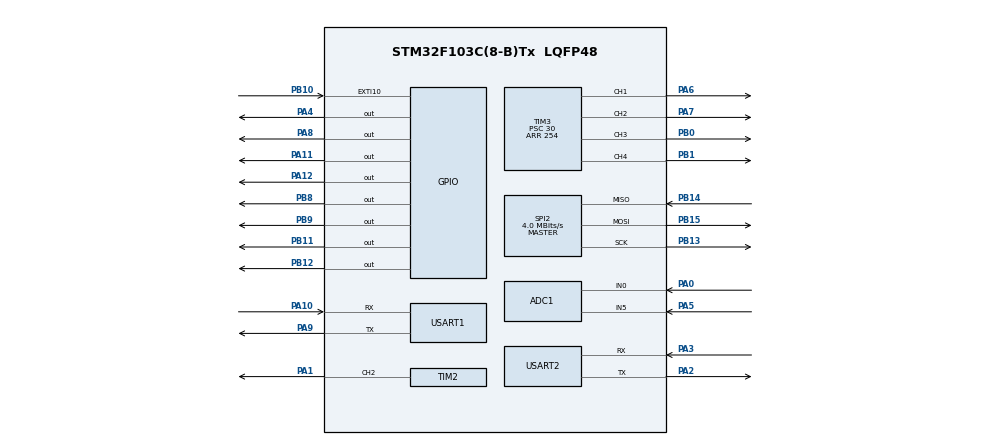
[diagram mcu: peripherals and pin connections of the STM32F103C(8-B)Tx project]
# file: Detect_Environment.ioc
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ADC1.Channel-1\#ChannelRegularConversion=ADC_CHANNEL_0
ADC1.Channel-2\#ChannelRegularConversion=ADC_CHANNEL_5
ADC1.ContinuousConvMode=ENABLE
ADC1.NbrOfConversion=2
ADC1.NbrOfConversionFlag=1
ADC1.Rank-1\#ChannelRegularConversion=1
ADC1.Rank-2\#ChannelRegularConversion=2
ADC1.SamplingTime-1\#ChannelRegularConversion=ADC_SAMPLETIME_55CYCLES_5
ADC1.SamplingTime-2\#ChannelRegularConversion=ADC_SAMPLETIME_55CYCLES_5
ADC1.master=1
Dma.ADC1.0.Direction=DMA_PERIPH_TO_MEMORY
Dma.ADC1.0.Instance=DMA1_Channel1
Dma.ADC1.0.MemDataAlignment=DMA_MDATAALIGN_HALFWORD
Dma.ADC1.0.MemInc=DMA_MINC_ENABLE
Dma.ADC1.0.Mode=DMA_CIRCULAR
Dma.ADC1.0.PeriphDataAlignment=DMA_PDATAALIGN_HALFWORD
Dma.ADC1.0.PeriphInc=DMA_PINC_DISABLE
Dma.ADC1.0.Priority=DMA_PRIORITY_MEDIUM
Dma.Request0=ADC1
Dma.Request1=USART2_RX
Dma.USART2_RX.1.Direction=DMA_PERIPH_TO_MEMORY
Dma.USART2_RX.1.Instance=DMA1_Channel6
Dma.USART2_RX.1.MemDataAlignment=DMA_MDATAALIGN_BYTE
Dma.USART2_RX.1.MemInc=DMA_MINC_ENABLE
Dma.USART2_RX.1.Mode=DMA_NORMAL
Dma.USART2_RX.1.PeriphDataAlignment=DMA_PDATAALIGN_BYTE
Dma.USART2_RX.1.PeriphInc=DMA_PINC_DISABLE
Dma.USART2_RX.1.Priority=DMA_PRIORITY_HIGH
FREERTOS.Tasks01=defaultTask,24,128,StartDefaultTask,Default,NULL,Dynamic,NULL,NULL
FREERTOS.configGENERATE_RUN_TIME_STATS=1
FREERTOS.configTOTAL_HEAP_SIZE=7680
FREERTOS.configUSE_IDLE_HOOK=1
FREERTOS.configUSE_STATS_FORMATTING_FUNCTIONS=1
FREERTOS.configUSE_TICKLESS_IDLE=1
Mcu.Family=STM32F1
Mcu.Name=STM32F103C(8-B)Tx
Mcu.Package=LQFP48
NVIC.EXTI15_10_IRQn=true\:5\:0\:false\:false\:true\:true\:true\:true\:true
NVIC.PriorityGroup=NVIC_PRIORITYGROUP_4
NVIC.TIM4_IRQn=true\:15\:0\:false\:false\:true\:false\:false\:true\:true
NVIC.TimeBase=TIM4_IRQn
NVIC.TimeBaseIP=TIM4
NVIC.USART2_IRQn=true\:5\:0\:false\:false\:true\:true\:true\:true\:true
PA0-WKUP.Signal=ADCx_IN0
PA1.Signal=S_TIM2_CH2
PA10.Mode=Asynchronous
PA10.Signal=USART1_RX
PA11.GPIO_Speed=GPIO_SPEED_FREQ_HIGH
PA11.Signal=GPIO_Output
PA12.GPIO_Speed=GPIO_SPEED_FREQ_HIGH
PA12.Signal=GPIO_Output
PA13.Mode=Serial_Wire
PA13.Signal=SYS_JTMS-SWDIO
PA14.Mode=Serial_Wire
PA14.Signal=SYS_JTCK-SWCLK
PA2.Mode=Asynchronous
PA2.Signal=USART2_TX
PA3.Mode=Asynchronous
PA3.Signal=USART2_RX
PA4.GPIO_ModeDefaultOutputPP=GPIO_MODE_OUTPUT_OD
PA4.GPIO_PuPd=GPIO_NOPULL
PA4.GPIO_Speed=GPIO_SPEED_FREQ_HIGH
PA4.PinState=GPIO_PIN_SET
PA4.Signal=GPIO_Output
PA5.Signal=ADCx_IN5
PA6.Signal=S_TIM3_CH1
PA7.Signal=S_TIM3_CH2
PA8.PinState=GPIO_PIN_RESET
PA8.Signal=GPIO_Output
PA9.Mode=Asynchronous
PA9.Signal=USART1_TX
PB0.Signal=S_TIM3_CH3
PB1.Signal=S_TIM3_CH4
PB10.GPIO_ModeDefaultEXTI=GPIO_MODE_IT_FALLING
PB10.GPIO_PuPd=GPIO_PULLUP
PB10.Signal=GPXTI10
PB11.PinState=GPIO_PIN_RESET
PB11.Signal=GPIO_Output
PB12.GPIO_Speed=GPIO_SPEED_FREQ_HIGH
PB12.PinState=GPIO_PIN_SET
PB12.Signal=GPIO_Output
PB13.Mode=Full_Duplex_Master
PB13.Signal=SPI2_SCK
PB14.Mode=Full_Duplex_Master
PB14.Signal=SPI2_MISO
PB15.Mode=Full_Duplex_Master
PB15.Signal=SPI2_MOSI
PB8.GPIO_ModeDefaultOutputPP=GPIO_MODE_OUTPUT_OD
PB8.GPIO_PuPd=GPIO_NOPULL
PB8.GPIO_Speed=GPIO_SPEED_FREQ_HIGH
PB8.PinState=GPIO_PIN_SET
PB8.Signal=GPIO_Output
PB9.GPIO_ModeDefaultOutputPP=GPIO_MODE_OUTPUT_OD
PB9.GPIO_PuPd=GPIO_NOPULL
PB9.GPIO_Speed=GPIO_SPEED_FREQ_HIGH
PB9.PinState=GPIO_PIN_SET
PB9.Signal=GPIO_Output
ProjectManager.HeapSize=0x200
ProjectManager.StackSize=0x400
ProjectManager.TargetToolchain=MDK-ARM V5.32
RCC.APB1Freq_Value=8000000
RCC.APB2Freq_Value=8000000
SH.ADCx_IN0.0=ADC1_IN0,IN0
SH.ADCx_IN5.0=ADC1_IN5,IN5
SH.S_TIM2_CH2.0=TIM2_CH2,PWM Generation2 CH2
SH.S_TIM3_CH1.0=TIM3_CH1,PWM Generation1 CH1
SH.S_TIM3_CH2.0=TIM3_CH2,PWM Generation2 CH2
SH.S_TIM3_CH3.0=TIM3_CH3,PWM Generation3 CH3
SH.S_TIM3_CH4.0=TIM3_CH4,PWM Generation4 CH4
SPI2.CalculateBaudRate=4.0 MBits/s
SPI2.Direction=SPI_DIRECTION_2LINES
SPI2.Mode=SPI_MODE_MASTER
SPI2.VirtualType=VM_MASTER
TIM1.AutoReloadPreload=TIM_AUTORELOAD_PRELOAD_ENABLE
TIM1.Prescaler=7
TIM2.AutoReloadPreload=TIM_AUTORELOAD_PRELOAD_ENABLE
TIM2.Channel-PWM\ Generation2\ CH2=TIM_CHANNEL_2
TIM2.OCPolarity_2=TIM_OCPOLARITY_LOW
TIM2.Period=99
TIM2.Prescaler=7
TIM3.AutoReloadPreload=TIM_AUTORELOAD_PRELOAD_ENABLE
TIM3.Channel-PWM\ Generation1\ CH1=TIM_CHANNEL_1
TIM3.Channel-PWM\ Generation2\ CH2=TIM_CHANNEL_2
TIM3.Channel-PWM\ Generation3\ CH3=TIM_CHANNEL_3
TIM3.Channel-PWM\ Generation4\ CH4=TIM_CHANNEL_4
TIM3.OCPolarity_1=TIM_OCPOLARITY_LOW
TIM3.OCPolarity_2=TIM_OCPOLARITY_LOW
TIM3.OCPolarity_3=TIM_OCPOLARITY_LOW
TIM3.Period=254
TIM3.Prescaler=30
USART1.VirtualMode=VM_ASYNC
USART2.VirtualMode=VM_ASYNC
VP_FREERTOS_VS_CMSIS_V2.Mode=CMSIS_V2
VP_SYS_VS_tim4.Mode=TIM4
VP_TIM1_VS_ClockSourceINT.Mode=Internal
VP_TIM2_VS_ClockSourceINT.Mode=Internal
VP_TIM3_VS_ClockSourceINT.Mode=Internal
board=custom

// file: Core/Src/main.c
/* USER CODE BEGIN Header */
/**
  ******************************************************************************
  * @file           : main.c
  * @brief          : Main program body
  ******************************************************************************
  * @attention
  *
  * Copyright (c) 2026 STMicroelectronics.
  * All rights reserved.
  *
  * This software is licensed under terms that can be found in the LICENSE file
  * in the root directory of this software component.
  * If no LICENSE file comes with this software, it is provided AS-IS.
  *
  ******************************************************************************
  */
/* USER CODE END Header */
#include "main.h"
#include "cmsis_os.h"

/* USER CODE BEGIN Includes */
#include "includes.h"
/* USER CODE END Includes */

/* USER CODE BEGIN PD */
#define APP_Start_ADDRESS   0x08008000
/* USER CODE END PD */

ADC_HandleTypeDef hadc1;
DMA_HandleTypeDef hdma_adc1;

SPI_HandleTypeDef hspi2;

TIM_HandleTypeDef htim1;
TIM_HandleTypeDef htim2;
TIM_HandleTypeDef htim3;

UART_HandleTypeDef huart1;
UART_HandleTypeDef huart2;
DMA_HandleTypeDef hdma_usart2_rx;

/* Definitions for defaultTask */
osThreadId_t defaultTaskHandle;
const osThreadAttr_t defaultTask_attributes = {
  .name = "defaultTask",
  .stack_size = 128 * 4,
  .priority = (osPriority_t) osPriorityNormal,
};

void SystemClock_Config(void);
static void MX_GPIO_Init(void);
static void MX_DMA_Init(void);
static void MX_ADC1_Init(void);
static void MX_SPI2_Init(void);
static void MX_TIM1_Init(void);
static void MX_TIM2_Init(void);
static void MX_TIM3_Init(void);
static void MX_USART1_UART_Init(void);
static void MX_USART2_UART_Init(void);
void StartDefaultTask(void *argument);

int main(void)
{
  /* USER CODE BEGIN 1 */
	__disable_irq();//先禁用全局中断
  /* USER CODE END 1 */

  /* MCU Configuration--------------------------------------------------------*/

  /* Reset of all peripherals, Initializes the Flash interface and the Systick. */
  HAL_Init();

  /* Configure the system clock */
  SystemClock_Config();

  /* USER CODE BEGIN SysInit */
 	SCB->VTOR = APP_Start_ADDRESS;//中断向量表重映射
  /* USER CODE END SysInit */

  /* Initialize all configured peripherals */
  MX_GPIO_Init();
  MX_DMA_Init();
  MX_ADC1_Init();
  MX_SPI2_Init();
  MX_TIM1_Init();
  MX_TIM2_Init();
  MX_TIM3_Init();
  MX_USART1_UART_Init();
  MX_USART2_UART_Init();
  /* USER CODE BEGIN 2 */

  EXTI->PR = 0xFFFFFFFF;// 清除所有EXTI 挂起标志（保险）
  for(int i=0; i<8; i++)
  {
    NVIC->ICPR[i] = 0xFFFFFFFF;// 清除 NVIC 所有挂起中断（彻底解决乱触发）
  }
	__enable_irq();
  /* USER CODE END 2 */

  /* Init scheduler */
  osKernelInitialize();

  /* Create the thread(s) */
  /* creation of defaultTask */
  // defaultTaskHandle = osThreadNew(StartDefaultTask, NULL, &defaultTask_attributes);

  /* USER CODE BEGIN RTOS_EVENTS */
  /* add events, ... */
  app_init();
  /* USER CODE END RTOS_EVENTS */

  /* Start scheduler */
  osKernelStart();

  /* We should never get here as control is now taken by the scheduler */
  /* Infinite loop */
  while (1)
  {

  }
}

void SystemClock_Config(void)
{
  RCC_OscInitTypeDef RCC_OscInitStruct = {0};
  RCC_ClkInitTypeDef RCC_ClkInitStruct = {0};
  RCC_PeriphCLKInitTypeDef PeriphClkInit = {0};

  /** Initializes the RCC Oscillators according to the specified parameters
  * in the RCC_OscInitTypeDef structure.
  */
  RCC_OscInitStruct.OscillatorType = RCC_OSCILLATORTYPE_HSI;
  RCC_OscInitStruct.HSIState = RCC_HSI_ON;
  RCC_OscInitStruct.HSICalibrationValue = RCC_HSICALIBRATION_DEFAULT;
  RCC_OscInitStruct.PLL.PLLState = RCC_PLL_NONE;
  if (HAL_RCC_OscConfig(&RCC_OscInitStruct) != HAL_OK)
  {
    Error_Handler();
  }

  /** Initializes the CPU, AHB and APB buses clocks
  */
  RCC_ClkInitStruct.ClockType = RCC_CLOCKTYPE_HCLK|RCC_CLOCKTYPE_SYSCLK
                              |RCC_CLOCKTYPE_PCLK1|RCC_CLOCKTYPE_PCLK2;
  RCC_ClkInitStruct.SYSCLKSource = RCC_SYSCLKSOURCE_HSI;
  RCC_ClkInitStruct.AHBCLKDivider = RCC_SYSCLK_DIV1;
  RCC_ClkInitStruct.APB1CLKDivider = RCC_HCLK_DIV1;
  RCC_ClkInitStruct.APB2CLKDivider = RCC_HCLK_DIV1;

  if (HAL_RCC_ClockConfig(&RCC_ClkInitStruct, FLASH_LATENCY_0) != HAL_OK)
  {
    Error_Handler();
  }
  PeriphClkInit.PeriphClockSelection = RCC_PERIPHCLK_ADC;
  PeriphClkInit.AdcClockSelection = RCC_ADCPCLK2_DIV2;
  if (HAL_RCCEx_PeriphCLKConfig(&PeriphClkInit) != HAL_OK)
  {
    Error_Handler();
  }
}

static void MX_ADC1_Init(void)
{

  ADC_ChannelConfTypeDef sConfig = {0};

  /** Common config
  */
  hadc1.Instance = ADC1;
  hadc1.Init.ScanConvMode = ADC_SCAN_ENABLE;
  hadc1.Init.ContinuousConvMode = ENABLE;
  hadc1.Init.DiscontinuousConvMode = DISABLE;
  hadc1.Init.ExternalTrigConv = ADC_SOFTWARE_START;
  hadc1.Init.DataAlign = ADC_DATAALIGN_RIGHT;
  hadc1.Init.NbrOfConversion = 2;
  if (HAL_ADC_Init(&hadc1) != HAL_OK)
  {
    Error_Handler();
  }

  /** Configure Regular Channel
  */
  sConfig.Channel = ADC_CHANNEL_0;
  sConfig.Rank = ADC_REGULAR_RANK_1;
  sConfig.SamplingTime = ADC_SAMPLETIME_55CYCLES_5;
  if (HAL_ADC_ConfigChannel(&hadc1, &sConfig) != HAL_OK)
  {
    Error_Handler();
  }

  /** Configure Regular Channel
  */
  sConfig.Channel = ADC_CHANNEL_5;
  sConfig.Rank = ADC_REGULAR_RANK_2;
  if (HAL_ADC_ConfigChannel(&hadc1, &sConfig) != HAL_OK)
  {
    Error_Handler();
  }

}

static void MX_SPI2_Init(void)
{

  /* SPI2 parameter configuration*/
  hspi2.Instance = SPI2;
  hspi2.Init.Mode = SPI_MODE_MASTER;
  hspi2.Init.Direction = SPI_DIRECTION_2LINES;
  hspi2.Init.DataSize = SPI_DATASIZE_8BIT;
  hspi2.Init.CLKPolarity = SPI_POLARITY_LOW;
  hspi2.Init.CLKPhase = SPI_PHASE_1EDGE;
  hspi2.Init.NSS = SPI_NSS_SOFT;
  hspi2.Init.BaudRatePrescaler = SPI_BAUDRATEPRESCALER_2;
  hspi2.Init.FirstBit = SPI_FIRSTBIT_MSB;
  hspi2.Init.TIMode = SPI_TIMODE_DISABLE;
  hspi2.Init.CRCCalculation = SPI_CRCCALCULATION_DISABLE;
  hspi2.Init.CRCPolynomial = 10;
  if (HAL_SPI_Init(&hspi2) != HAL_OK)
  {
    Error_Handler();
  }

}

static void MX_TIM1_Init(void)
{

  TIM_ClockConfigTypeDef sClockSourceConfig = {0};
  TIM_MasterConfigTypeDef sMasterConfig = {0};

  htim1.Instance = TIM1;
  htim1.Init.Prescaler = 7;
  htim1.Init.CounterMode = TIM_COUNTERMODE_UP;
  htim1.Init.Period = 65535;
  htim1.Init.ClockDivision = TIM_CLOCKDIVISION_DIV1;
  htim1.Init.RepetitionCounter = 0;
  htim1.Init.AutoReloadPreload = TIM_AUTORELOAD_PRELOAD_ENABLE;
  if (HAL_TIM_Base_Init(&htim1) != HAL_OK)
  {
    Error_Handler();
  }
  sClockSourceConfig.ClockSource = TIM_CLOCKSOURCE_INTERNAL;
  if (HAL_TIM_ConfigClockSource(&htim1, &sClockSourceConfig) != HAL_OK)
  {
    Error_Handler();
  }
  sMasterConfig.MasterOutputTrigger = TIM_TRGO_RESET;
  sMasterConfig.MasterSlaveMode = TIM_MASTERSLAVEMODE_DISABLE;
  if (HAL_TIMEx_MasterConfigSynchronization(&htim1, &sMasterConfig) != HAL_OK)
  {
    Error_Handler();
  }

}

static void MX_TIM2_Init(void)
{

  TIM_ClockConfigTypeDef sClockSourceConfig = {0};
  TIM_MasterConfigTypeDef sMasterConfig = {0};
  TIM_OC_InitTypeDef sConfigOC = {0};

  htim2.Instance = TIM2;
  htim2.Init.Prescaler = 7;
  htim2.Init.CounterMode = TIM_COUNTERMODE_UP;
  htim2.Init.Period = 99;
  htim2.Init.ClockDivision = TIM_CLOCKDIVISION_DIV1;
  htim2.Init.AutoReloadPreload = TIM_AUTORELOAD_PRELOAD_ENABLE;
  if (HAL_TIM_Base_Init(&htim2) != HAL_OK)
  {
    Error_Handler();
  }
  sClockSourceConfig.ClockSource = TIM_CLOCKSOURCE_INTERNAL;
  if (HAL_TIM_ConfigClockSource(&htim2, &sClockSourceConfig) != HAL_OK)
  {
    Error_Handler();
  }
  if (HAL_TIM_PWM_Init(&htim2) != HAL_OK)
  {
    Error_Handler();
  }
  sMasterConfig.MasterOutputTrigger = TIM_TRGO_RESET;
  sMasterConfig.MasterSlaveMode = TIM_MASTERSLAVEMODE_DISABLE;
  if (HAL_TIMEx_MasterConfigSynchronization(&htim2, &sMasterConfig) != HAL_OK)
  {
    Error_Handler();
  }
  sConfigOC.OCMode = TIM_OCMODE_PWM1;
  sConfigOC.Pulse = 0;
  sConfigOC.OCPolarity = TIM_OCPOLARITY_LOW;
  sConfigOC.OCFastMode = TIM_OCFAST_DISABLE;
  if (HAL_TIM_PWM_ConfigChannel(&htim2, &sConfigOC, TIM_CHANNEL_2) != HAL_OK)
  {
    Error_Handler();
  }
  HAL_TIM_MspPostInit(&htim2);

}

static void MX_TIM3_Init(void)
{

  TIM_ClockConfigTypeDef sClockSourceConfig = {0};
  TIM_MasterConfigTypeDef sMasterConfig = {0};
  TIM_OC_InitTypeDef sConfigOC = {0};

  htim3.Instance = TIM3;
  htim3.Init.Prescaler = 30;
  htim3.Init.CounterMode = TIM_COUNTERMODE_UP;
  htim3.Init.Period = 254;
  htim3.Init.ClockDivision = TIM_CLOCKDIVISION_DIV1;
  htim3.Init.AutoReloadPreload = TIM_AUTORELOAD_PRELOAD_ENABLE;
  if (HAL_TIM_Base_Init(&htim3) != HAL_OK)
  {
    Error_Handler();
  }
  sClockSourceConfig.ClockSource = TIM_CLOCKSOURCE_INTERNAL;
  if (HAL_TIM_ConfigClockSource(&htim3, &sClockSourceConfig) != HAL_OK)
  {
    Error_Handler();
  }
  if (HAL_TIM_PWM_Init(&htim3) != HAL_OK)
  {
    Error_Handler();
  }
  sMasterConfig.MasterOutputTrigger = TIM_TRGO_RESET;
  sMasterConfig.MasterSlaveMode = TIM_MASTERSLAVEMODE_DISABLE;
  if (HAL_TIMEx_MasterConfigSynchronization(&htim3, &sMasterConfig) != HAL_OK)
  {
    Error_Handler();
  }
  sConfigOC.OCMode = TIM_OCMODE_PWM1;
  sConfigOC.Pulse = 0;
  sConfigOC.OCPolarity = TIM_OCPOLARITY_LOW;
  sConfigOC.OCFastMode = TIM_OCFAST_DISABLE;
  if (HAL_TIM_PWM_ConfigChannel(&htim3, &sConfigOC, TIM_CHANNEL_1) != HAL_OK)
  {
    Error_Handler();
  }
  if (HAL_TIM_PWM_ConfigChannel(&htim3, &sConfigOC, TIM_CHANNEL_2) != HAL_OK)
  {
    Error_Handler();
  }
  if (HAL_TIM_PWM_ConfigChannel(&htim3, &sConfigOC, TIM_CHANNEL_3) != HAL_OK)
  {
    Error_Handler();
  }
  sConfigOC.OCPolarity = TIM_OCPOLARITY_HIGH;
  if (HAL_TIM_PWM_ConfigChannel(&htim3, &sConfigOC, TIM_CHANNEL_4) != HAL_OK)
  {
    Error_Handler();
  }
  HAL_TIM_MspPostInit(&htim3);

}

static void MX_USART1_UART_Init(void)
{

  huart1.Instance = USART1;
  huart1.Init.BaudRate = 115200;
  huart1.Init.WordLength = UART_WORDLENGTH_8B;
  huart1.Init.StopBits = UART_STOPBITS_1;
  huart1.Init.Parity = UART_PARITY_NONE;
  huart1.Init.Mode = UART_MODE_TX_RX;
  huart1.Init.HwFlowCtl = UART_HWCONTROL_NONE;
  huart1.Init.OverSampling = UART_OVERSAMPLING_16;
  if (HAL_UART_Init(&huart1) != HAL_OK)
  {
    Error_Handler();
  }

}

static void MX_USART2_UART_Init(void)
{

  huart2.Instance = USART2;
  huart2.Init.BaudRate = 115200;
  huart2.Init.WordLength = UART_WORDLENGTH_8B;
  huart2.Init.StopBits = UART_STOPBITS_1;
  huart2.Init.Parity = UART_PARITY_NONE;
  huart2.Init.Mode = UART_MODE_TX_RX;
  huart2.Init.HwFlowCtl = UART_HWCONTROL_NONE;
  huart2.Init.OverSampling = UART_OVERSAMPLING_16;
  if (HAL_UART_Init(&huart2) != HAL_OK)
  {
    Error_Handler();
  }

}

static void MX_DMA_Init(void)
{

  /* DMA controller clock enable */
  __HAL_RCC_DMA1_CLK_ENABLE();

}

static void MX_GPIO_Init(void)
{
  GPIO_InitTypeDef GPIO_InitStruct = {0};

  /* GPIO Ports Clock Enable */
  __HAL_RCC_GPIOA_CLK_ENABLE();
  __HAL_RCC_GPIOB_CLK_ENABLE();

  /*Configure GPIO pin Output Level */
  HAL_GPIO_WritePin(GPIOA, GPIO_PIN_4, GPIO_PIN_SET);

  /*Configure GPIO pin Output Level */
  HAL_GPIO_WritePin(GPIOB, GPIO_PIN_11, GPIO_PIN_RESET);

  /*Configure GPIO pin Output Level */
  HAL_GPIO_WritePin(GPIOB, GPIO_PIN_12|GPIO_PIN_8|GPIO_PIN_9, GPIO_PIN_SET);

  /*Configure GPIO pin Output Level */
  HAL_GPIO_WritePin(GPIOA, GPIO_PIN_8|GPIO_PIN_11|GPIO_PIN_12, GPIO_PIN_RESET);

  /*Configure GPIO pin : PA4 */
  GPIO_InitStruct.Pin = GPIO_PIN_4;
  GPIO_InitStruct.Mode = GPIO_MODE_OUTPUT_OD;
  GPIO_InitStruct.Pull = GPIO_NOPULL;
  GPIO_InitStruct.Speed = GPIO_SPEED_FREQ_HIGH;
  HAL_GPIO_Init(GPIOA, &GPIO_InitStruct);

  /*Configure GPIO pin : PB10 */
  GPIO_InitStruct.Pin = GPIO_PIN_10;
  GPIO_InitStruct.Mode = GPIO_MODE_IT_FALLING;
  GPIO_InitStruct.Pull = GPIO_PULLUP;
  HAL_GPIO_Init(GPIOB, &GPIO_InitStruct);

  /*Configure GPIO pin : PB11 */
  GPIO_InitStruct.Pin = GPIO_PIN_11;
  GPIO_InitStruct.Mode = GPIO_MODE_OUTPUT_PP;
  GPIO_InitStruct.Pull = GPIO_NOPULL;
  GPIO_InitStruct.Speed = GPIO_SPEED_FREQ_LOW;
  HAL_GPIO_Init(GPIOB, &GPIO_InitStruct);

  /*Configure GPIO pin : PB12 */
  GPIO_InitStruct.Pin = GPIO_PIN_12;
  GPIO_InitStruct.Mode = GPIO_MODE_OUTPUT_PP;
  GPIO_InitStruct.Pull = GPIO_NOPULL;
  GPIO_InitStruct.Speed = GPIO_SPEED_FREQ_HIGH;
  HAL_GPIO_Init(GPIOB, &GPIO_InitStruct);

  /*Configure GPIO pin : PA8 */
  GPIO_InitStruct.Pin = GPIO_PIN_8;
  GPIO_InitStruct.Mode = GPIO_MODE_OUTPUT_PP;
  GPIO_InitStruct.Pull = GPIO_NOPULL;
  GPIO_InitStruct.Speed = GPIO_SPEED_FREQ_LOW;
  HAL_GPIO_Init(GPIOA, &GPIO_InitStruct);

  /*Configure GPIO pins : PA11 PA12 */
  GPIO_InitStruct.Pin = GPIO_PIN_11|GPIO_PIN_12;
  GPIO_InitStruct.Mode = GPIO_MODE_OUTPUT_PP;
  GPIO_InitStruct.Pull = GPIO_NOPULL;
  GPIO_InitStruct.Speed = GPIO_SPEED_FREQ_HIGH;
  HAL_GPIO_Init(GPIOA, &GPIO_InitStruct);

  /*Configure GPIO pins : PB8 PB9 */
  GPIO_InitStruct.Pin = GPIO_PIN_8|GPIO_PIN_9;
  GPIO_InitStruct.Mode = GPIO_MODE_OUTPUT_OD;
  GPIO_InitStruct.Pull = GPIO_NOPULL;
  GPIO_InitStruct.Speed = GPIO_SPEED_FREQ_HIGH;
  HAL_GPIO_Init(GPIOB, &GPIO_InitStruct);

  /* EXTI interrupt init*/
  HAL_NVIC_SetPriority(EXTI15_10_IRQn, 5, 0);
  HAL_NVIC_EnableIRQ(EXTI15_10_IRQn);

}

/* USER CODE BEGIN 4 */
int fputc(int ch, FILE *f)
{
	HAL_UART_Transmit(&huart1, (const uint8_t *)&ch, 1, HAL_MAX_DELAY);
	return ch;
}
/* USER CODE END 4 */

void StartDefaultTask(void *argument)
{
  for(;;)
  {
    osDelay(1);
  }
}

void HAL_TIM_PeriodElapsedCallback(TIM_HandleTypeDef *htim)
{
  if (htim->Instance == TIM4) {
    HAL_IncTick();
  }
}

void Error_Handler(void)
{
  __disable_irq();
  while (1)
  {
  }
}

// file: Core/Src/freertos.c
/* USER CODE BEGIN Header */
/**
  ******************************************************************************
  * File Name          : freertos.c
  * Description        : Code for freertos applications
  ******************************************************************************
  * @attention
  *
  * Copyright (c) 2026 STMicroelectronics.
  * All rights reserved.
  *
  * This software is licensed under terms that can be found in the LICENSE file
  * in the root directory of this software component.
  * If no LICENSE file comes with this software, it is provided AS-IS.
  *
  ******************************************************************************
  */
/* USER CODE END Header */

#include "FreeRTOS.h"
#include "task.h"
#include "main.h"

/* USER CODE BEGIN Includes */
#include <stdio.h>
#include "driver_timer.h"
/* USER CODE END Includes */

/* USER CODE BEGIN Variables */
char text[150];
extern TIM_HandleTypeDef htim4;
/* USER CODE END Variables */

/* Hook prototypes */
void configureTimerForRunTimeStats(void);
unsigned long getRunTimeCounterValue(void);
void vApplicationIdleHook(void);

/* USER CODE BEGIN 1 */
/* Functions needed when configGENERATE_RUN_TIME_STATS is on */
__weak void configureTimerForRunTimeStats(void)
{

}

__weak unsigned long getRunTimeCounterValue(void)
{
  return 0;
}
/* USER CODE END 1 */

/* USER CODE BEGIN 2 */
void vApplicationIdleHook( void )
{
   /* vApplicationIdleHook() will only be called if configUSE_IDLE_HOOK is set
   to 1 in FreeRTOSConfig.h. It will be called on each iteration of the idle
   task. It is essential that code added to this hook function never attempts
   to block in any way (for example, call xQueueReceive() with a block time
   specified, or call vTaskDelay()). If the application makes use of the
   vTaskDelete() API function (as this demo application does) then it is also
   important that vApplicationIdleHook() is permitted to return to its calling
   function, because it is the responsibility of the idle task to clean up
   memory allocated by the kernel to any task that has since been deleted. */
	// int i;
	// // // vTaskList(text);//查看堆栈使用情况
	// vTaskGetRunTimeStats(text);//查看CPU使用情况
	// for(i=0;i<16;i++)
  // {
  //   printf("_");
  // }
	// printf("\r\n");
	// printf("%s",text);
	// printf("\r\n");
}
/* USER CODE END 2 */

/* USER CODE BEGIN PREPOSTSLEEP */
__weak void PreSleepProcessing(uint32_t *ulExpectedIdleTime)//进入低功耗前的操作
{
  // HAL_GPIO_TogglePin(GPIOB, GPIO_PIN_11);
/* place for user code */
  __HAL_TIM_DISABLE_IT(&htim4, TIM_IT_UPDATE);
  __HAL_TIM_DISABLE(&htim4);
}

__weak void PostSleepProcessing(uint32_t *ulExpectedIdleTime)//退出出低功耗后的操作
{
/* place for user code */
  __HAL_TIM_ENABLE(&htim4);
  __HAL_TIM_ENABLE_IT(&htim4, TIM_IT_UPDATE);
}
/* USER CODE END PREPOSTSLEEP */
